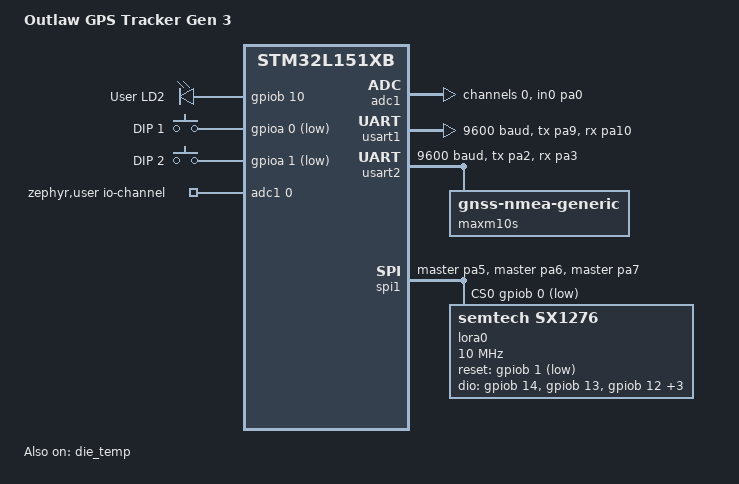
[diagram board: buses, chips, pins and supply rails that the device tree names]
/*
 * Copyright (c) 2024 Aaron Chan
 *
 * SPDX-License-Identifier: Apache-2.0
 */

/dts-v1/;
#include <st/f1/stm32l151Xb.dtsi>
#include <st/f1/stm32l151r(c-b)tx-pinctrl.dtsi>
#include <zephyr/dt-bindings/input/input-event-codes.h>

/ {
	model = "Outlaw GPS Tracker Gen 3";
	compatible = "st,stm32l151xb";

	chosen {
		zephyr,console = &usart1;
		zephyr,shell-uart = &usart1;
		zephyr,sram = &sram0;
		zephyr,flash = &flash0;
	};

	leds: leds {
		compatible = "gpio-leds";
		led: led {
			gpios = <&gpiob 10 GPIO_ACTIVE_HIGH>;
			label = "User LD2";
		};
	};

	gpio_keys {
		compatible = "gpio-keys";
		dip1: dip1 {
			label = "DIP 1";
			gpios = <&gpioa 0 GPIO_ACTIVE_LOW>;
			zephyr,code = <INPUT_KEY_0>;
		};

		dip2: dip2 {
			label = "DIP 2";
			gpios = <&gpioa 1 GPIO_ACTIVE_LOW>;
			zephyr,code = <INPUT_KEY_0>;
		};
	};

	aliases {
		dbg-uart = &usart1;
		gnss-uart = &usart2;
		lora = &lora0;
		pin-sw = &dip1;
		gnss = &maxm10s;
		led0 = &led;
		watchdog0 = &iwdg;
		die-temp0 = &die_temp;
	};

	zephyr,user {
        io-channels = <&adc1 0>;
    };
};

&adc1 {
    pinctrl-0 = <&adc1_in0_pa0>;
    pinctrl-names = "default";
    status = "okay";
    #address-cells = <1>;
    #size-cells = <0>;

    channel@0 {
        reg = <0>;
        zephyr,gain = "ADC_GAIN_1";
        zephyr,reference = "ADC_REF_INTERNAL";
        zephyr,acquisition-time = <ADC_ACQ_TIME_DEFAULT>;
        zephyr,resolution = <12>;
    };
};


&clk_lsi {
	status = "okay";
};

&clk_hsi {
	clock-frequency = <DT_FREQ_M(8)>;
	status = "okay";
};

&pll {
	mul = <2>;
	clocks = <&clk_hsi>;
	status = "okay";
};

&rcc {
	clocks = <&pll>;
	clock-frequency = <DT_FREQ_M(8)>;
	ahb-prescaler = <1>;
	apb1-prescaler = <2>;
	apb2-prescaler = <1>;
	adc-prescaler = <2>;
};

// DEBUG UART
&usart1 {
	pinctrl-0 = <&usart1_tx_pa9 &usart1_rx_pa10>;
	pinctrl-names = "default";
	current-speed = <9600>;
	status = "okay";
};

// GPS UART
&usart2 {
	pinctrl-0 = <&usart2_tx_pa2 &usart2_rx_pa3>;
	pinctrl-names = "default";
	current-speed = <9600>;
	status = "okay";

	maxm10s: ublox-maxm10s {
        status = "okay";
        compatible = "gnss-nmea-generic";
    };
};

//zephyr_udc0: &usbotg_fs {
//	pinctrl-0 = <&usb_otg_fs_dm_pa11 &usb_otg_fs_dp_pa12>;
//	pinctrl-names = "default";
//	status = "okay";
//
//	cdc_acm_uart0: cdc_acm_uart0 {
//		compatible = "zephyr,cdc-acm-uart";
//		label = "CDC_ACM_0";
//	};
//};

&spi1 {
	pinctrl-0 = <&spi1_sck_master_pa5 &spi1_miso_master_pa6 &spi1_mosi_master_pa7>;
	pinctrl-names = "default";
	cs-gpios = <&gpiob 0 (GPIO_ACTIVE_LOW | GPIO_PULL_UP)>;
	status = "okay";

	lora0: lora0@0 {
        compatible = "semtech,sx1276";
        reg = <0>;
        reset-gpios = <&gpiob 1 GPIO_ACTIVE_LOW>;
        dio-gpios = <&gpiob 14 (GPIO_PULL_DOWN | GPIO_ACTIVE_HIGH)>,
                    <&gpiob 13 (GPIO_PULL_DOWN | GPIO_ACTIVE_HIGH)>,
                    <&gpiob 12 (GPIO_PULL_DOWN | GPIO_ACTIVE_HIGH)>,
                    <&gpioa 8 (GPIO_PULL_DOWN | GPIO_ACTIVE_HIGH)>,
                    <&gpiob 15 (GPIO_PULL_DOWN | GPIO_ACTIVE_HIGH)>,
                    <&gpiob 6 (GPIO_PULL_DOWN | GPIO_ACTIVE_HIGH)>;
        power-amplifier-output = "pa-boost";
        spi-max-frequency = <DT_FREQ_M(10)>;
        status = "okay";
    };
};

//&iwdg {
//	status = "okay";
//};

//&rtc {
//	clocks = <&rcc STM32_CLOCK_BUS_APB1 0x10000000>,
//		 <&rcc STM32_SRC_LSI RTC_SEL(2)>;
//	status = "okay";
//};

&die_temp {
	status = "okay";
};

//&dma1 {
//	status = "okay";
//};

&flash0 {
	partitions {
		compatible = "fixed-partitions";
		#address-cells = <1>;
		#size-cells = <1>;

		/* Set 2KB of storage at the end of 128KB flash */
		storage_partition: partition@1f800 {
			label = "storage";
			reg = <0x0001f800 DT_SIZE_K(2)>;
		};
	};
};
